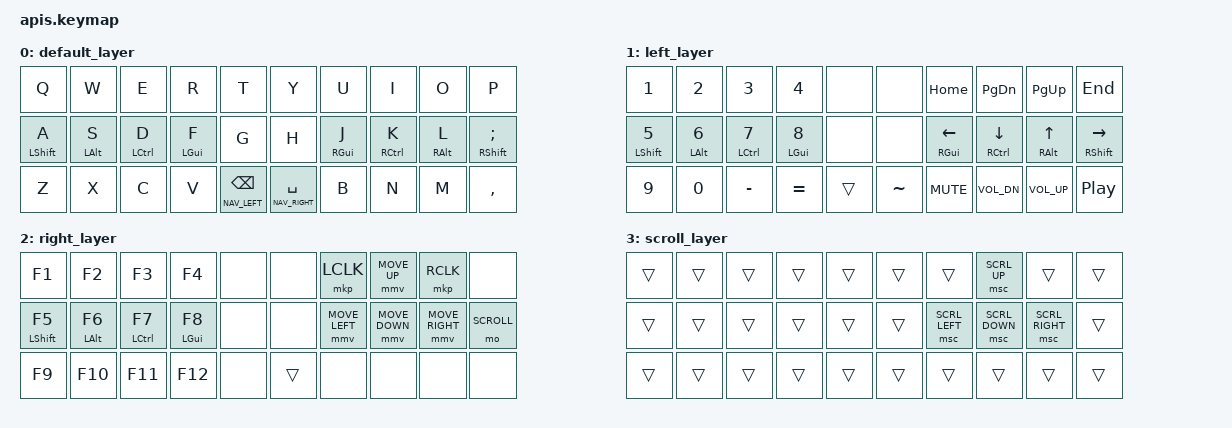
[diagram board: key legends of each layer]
#include <behaviors.dtsi>
#include <dt-bindings/zmk/keys.h>
#include <dt-bindings/zmk/outputs.h>
#include <dt-bindings/zmk/pointing.h>

/* Renamed macros to prevent collisions with ZMK keys.h */
#define NAV_LEFT  1
#define NAV_RIGHT 2
#define SCROLL    3

/* Override node labels OUTSIDE the root / { } block */
&mmv {
    time-to-max-speed-ms = <300>;
    acceleration-exponent = <1>;
};

/ {
    behaviors {
        hm: home_row_mod {
            compatible = "zmk,behavior-hold-tap";
            #binding-cells = <2>;
            tapping-term-ms = <200>;
            quick-tap-ms = <150>;
            flavor = "tap-preferred";
            bindings = <&kp>, <&kp>;
        };

        lt_spc: layer_tap_space {
            compatible = "zmk,behavior-hold-tap";
            #binding-cells = <2>;
            tapping-term-ms = <200>;
            quick-tap-ms = <150>;
            flavor = "tap-preferred";
            bindings = <&mo>, <&kp>;
        };
    };

    combos {
        compatible = "zmk,combos";

        /* Essentials */
        combo_esc {
            timeout-ms = <50>;
            key-positions = <0 1>;
            bindings = <&kp ESC>;
        };
        combo_del {
            timeout-ms = <50>;
            key-positions = <8 9>;
            bindings = <&kp DEL>;
        };
        combo_enter {
            timeout-ms = <50>;
            key-positions = <18 19>;
            bindings = <&kp RET>;
        };
        combo_tab {
            timeout-ms = <50>;
            key-positions = <10 11>;
            bindings = <&kp TAB>;
        };

        /* Left side Vertical Combos */
        combo_backslash {
            timeout-ms = <50>;
            key-positions = <0 10>;
            bindings = <&kp BSLH>;
            layers = <0>;
        };
        combo_left_bracket {
            timeout-ms = <50>;
            key-positions = <1 11>;
            bindings = <&kp LBKT>;
            layers = <0>;
        };
        combo_left_brace {
            timeout-ms = <50>;
            key-positions = <2 12>;
            bindings = <&kp LBRC>;
            layers = <0>;
        };
        combo_left_parenthesis {
            timeout-ms = <50>;
            key-positions = <3 13>;
            bindings = <&kp LPAR>;
            layers = <0>;
        };
        combo_less_than {
            timeout-ms = <50>;
            key-positions = <4 14>;
            bindings = <&kp LT>;
            layers = <0>;
        };

        /* Right side Vertical Combos */
        combo_greater_than {
            timeout-ms = <50>;
            key-positions = <5 15>;
            bindings = <&kp GT>;
            layers = <0>;
        };
        combo_right_parenthesis {
            timeout-ms = <50>;
            key-positions = <6 16>;
            bindings = <&kp RPAR>;
            layers = <0>;
        };
        combo_right_brace {
            timeout-ms = <50>;
            key-positions = <7 17>;
            bindings = <&kp RBRC>;
            layers = <0>;
        };
        combo_right_bracket {
            timeout-ms = <50>;
            key-positions = <8 18>;
            bindings = <&kp RBKT>;
            layers = <0>;
        };
        combo_slash {
            timeout-ms = <50>;
            key-positions = <9 19>;
            bindings = <&kp FSLH>;
            layers = <0>;
        };

        /* Row Combos */
        combo_single_quote {
            timeout-ms = <50>;
            key-positions = <16 17>;
            bindings = <&kp SQT>;
            layers = <0>;
        };
        combo_grave {
            timeout-ms = <50>;
            key-positions = <20 21>;
            bindings = <&kp GRAVE>;
            layers = <0>;
        };
        combo_full_stop {
            timeout-ms = <50>;
            key-positions = <28 29>;
            bindings = <&kp DOT>;
            layers = <0>;
        };
        combo_mclk {
            timeout-ms = <50>;
            key-positions = <6 8>;
            bindings = <&mkp MCLK>;
            layers = <NAV_RIGHT>;
        };
    };

    keymap {
        compatible = "zmk,keymap";

        default_layer {
            bindings = <
                &kp Q         &kp W         &kp E         &kp R         &kp T               &kp Y             &kp U         &kp I         &kp O         &kp P
                &hm LSHFT A   &hm LALT S    &hm LCTRL D   &hm LGUI F    &kp G               &kp H             &hm RGUI J    &hm RCTRL K   &hm RALT L    &hm RSHFT SEMI
                &kp Z         &kp X         &kp C         &kp V         &lt_spc NAV_LEFT BSPC &lt_spc NAV_RIGHT SPC &kp B    &kp N         &kp M         &kp COMMA
            >;
        };

        left_layer {
            bindings = <
                &kp N1        &kp N2        &kp N3        &kp N4        &none               &none             &kp HOME      &kp PG_DN     &kp PG_UP     &kp END
                &hm LSHFT N5  &hm LALT N6   &hm LCTRL N7  &hm LGUI N8   &none               &none             &hm RGUI LEFT &hm RCTRL DOWN &hm RALT UP  &hm RSHFT RIGHT
                &kp N9        &kp N0        &kp MINUS     &kp EQUAL     &trans              &kp TILDE         &kp C_MUTE    &kp C_VOL_DN  &kp C_VOL_UP  &kp C_PP
            >;
        };

        right_layer {
            bindings = <
                &kp F1        &kp F2        &kp F3        &kp F4        &none               &none             &mkp LCLK     &mmv MOVE_UP  &mkp RCLK     &none
                &hm LSHFT F5  &hm LALT F6   &hm LCTRL F7  &hm LGUI F8   &none               &none             &mmv MOVE_LEFT &mmv MOVE_DOWN &mmv MOVE_RIGHT &mo SCROLL
                &kp F9        &kp F10       &kp F11       &kp F12       &none               &trans            &none         &none         &none         &none
            >;
        };

        scroll_layer {
            bindings = <
                &trans        &trans        &trans        &trans        &trans              &trans            &trans        &msc SCRL_UP  &trans        &trans
                &trans        &trans        &trans        &trans        &trans              &trans            &msc SCRL_LEFT &msc SCRL_DOWN &msc SCRL_RIGHT &trans
                &trans        &trans        &trans        &trans        &trans              &trans            &trans        &trans        &trans        &trans
            >;
        };
    };
};
